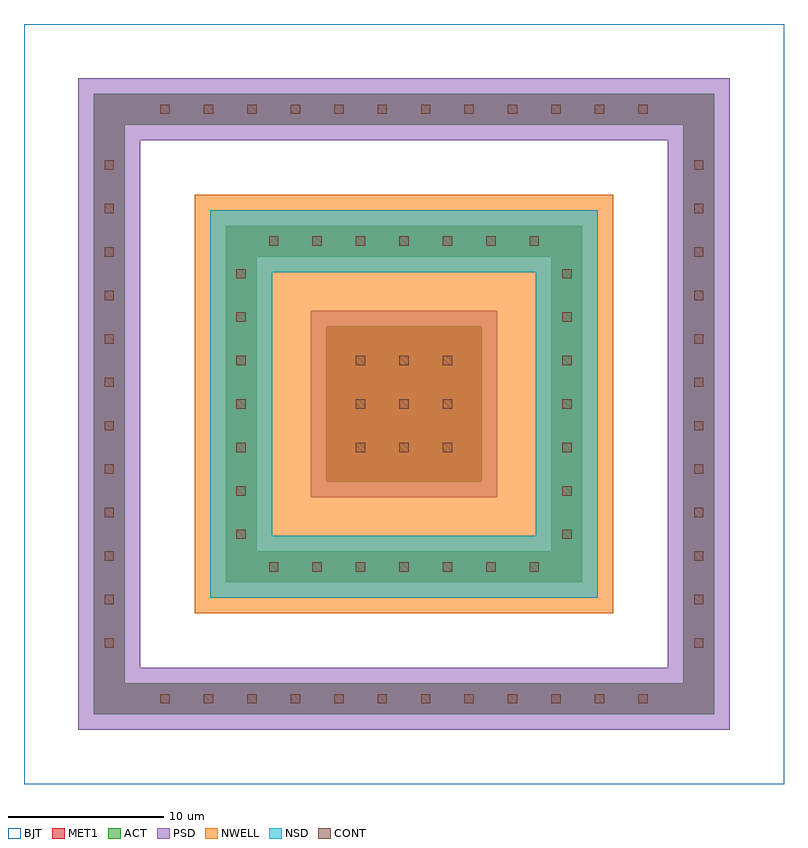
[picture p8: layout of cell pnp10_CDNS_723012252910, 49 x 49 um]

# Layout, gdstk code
from math import pi, radians
import gdstk
lib = gdstk.Library(unit=1e-6, precision=1e-09)
def R(c, l, rs):  # rectangles x0, y0, x1, y1
    for r in rs: c.add(gdstk.rectangle(r[:2], r[2:], *l))
def A(c, l, x, y, w, h, nx, ny, dx, dy):  # array of equal rectangles
    R(c, l, [(x+i*dx, y+j*dy, x+i*dx+w, y+j*dy+h) for i in range(nx) for j in range(ny)])
def P(c, l, *ps):  # polygons
    for p in ps: c.add(gdstk.Polygon(p, *l))
NWELL = (2, 0)
ACT = (11, 0)
NSD = (14, 0)
PSD = (15, 0)
CONT = (31, 0)
MET1 = (32, 0)
BJT = (56, 0)

ntap_cdns_723012252911 = lib.new_cell('ntap_CDNS_723012252911')
R(ntap_cdns_723012252911, ACT, [(0.5,0.5,2.3,19.3)])
A(ntap_cdns_723012252911, CONT, 1.1, 1.2, 0.6, 0.6, 1, 7, 0, 2.8)
R(ntap_cdns_723012252911, MET1, [(0.4,0.4,2.4,19.4)])

ptap_cdns_723012252912 = lib.new_cell('ptap_CDNS_723012252912')
R(ptap_cdns_723012252912, ACT, [(0.5,0.5,2.3,34.3)])
A(ptap_cdns_723012252912, CONT, 1.1, 1.7, 0.6, 0.6, 1, 12, 0, 2.8)
R(ptap_cdns_723012252912, MET1, [(0.4,0.4,2.4,34.4)])

ptap_cdns_723012252913 = lib.new_cell('ptap_CDNS_723012252913')
R(ptap_cdns_723012252913, ACT, [(0.5,0.5,10.3,10.3)])
A(ptap_cdns_723012252913, CONT, 2.3, 2.3, 0.6, 0.6, 3, 3, 2.8, 2.8)
R(ptap_cdns_723012252913, MET1, [(0.4,0.4,10.4,10.4)])

pnp10_cdns_723012252910 = lib.new_cell('pnp10_CDNS_723012252910')
R(pnp10_cdns_723012252910, NWELL, [(11,11,38,38)])
R(pnp10_cdns_723012252910, ACT, [(19.5,19.5,29.5,29.5)])
P(pnp10_cdns_723012252910, ACT, [(13,13),(13,30.33),(15,30.33),(15,15),(34,15),(34,34),(15,34),(15,30.33),(13,30.33),(13,36),(36,36),(36,13)],
  [(4.5,4.5),(4.5,33.71),(6.5,33.71),(6.5,6.5),(42.5,6.5),(42.5,42.5),(6.5,42.5),(6.5,33.71),(4.5,33.71),(4.5,44.5),(44.5,44.5),(44.5,4.5)])
P(pnp10_cdns_723012252910, NSD, [(12,12),(12,37),(33,37),(33,33),(16,33),(16,16),(33,16),(33,37),(37,37),(37,12)])
R(pnp10_cdns_723012252910, PSD, [(18.5,18.5,30.5,30.5)])
P(pnp10_cdns_723012252910, PSD, [(3.5,3.5),(3.5,45.5),(41.5,45.5),(41.5,41.5),(7.5,41.5),(7.5,7.5),(41.5,7.5),(41.5,45.5),(45.5,45.5),(45.5,3.5)])
R(pnp10_cdns_723012252910, MET1, [(19.5,19.5,29.5,29.5)])
P(pnp10_cdns_723012252910, MET1, [(13,13),(13,36),(34,36),(34,34),(15,34),(15,15),(34,15),(34,36),(36,36),(36,13)],
  [(4.5,4.5),(4.5,44.5),(42.5,44.5),(42.5,42.5),(6.5,42.5),(6.5,6.5),(42.5,6.5),(42.5,44.5),(44.5,44.5),(44.5,4.5)])
R(pnp10_cdns_723012252910, BJT, [(0,0,49,49)])
pnp10_cdns_723012252910.add(gdstk.Reference(ntap_cdns_723012252911, (12.6,14.6)))
pnp10_cdns_723012252910.add(gdstk.Reference(ntap_cdns_723012252911, (14.6,33.6), rotation=pi/2, x_reflection=True))
pnp10_cdns_723012252910.add(gdstk.Reference(ntap_cdns_723012252911, (14.6,12.6), rotation=pi/2, x_reflection=True))
pnp10_cdns_723012252910.add(gdstk.Reference(ntap_cdns_723012252911, (33.6,14.6)))
pnp10_cdns_723012252910.add(gdstk.Reference(ptap_cdns_723012252912, (7.1,42.1), rotation=pi/2, x_reflection=True))
pnp10_cdns_723012252910.add(gdstk.Reference(ptap_cdns_723012252912, (4.1,7.1)))
pnp10_cdns_723012252910.add(gdstk.Reference(ptap_cdns_723012252912, (42.1,7.1)))
pnp10_cdns_723012252910.add(gdstk.Reference(ptap_cdns_723012252912, (7.1,4.1), rotation=pi/2, x_reflection=True))
pnp10_cdns_723012252910.add(gdstk.Reference(ptap_cdns_723012252913, (19.1,19.1)))

lib.write_gds('pnp10_CDNS_723012252910.gds')
